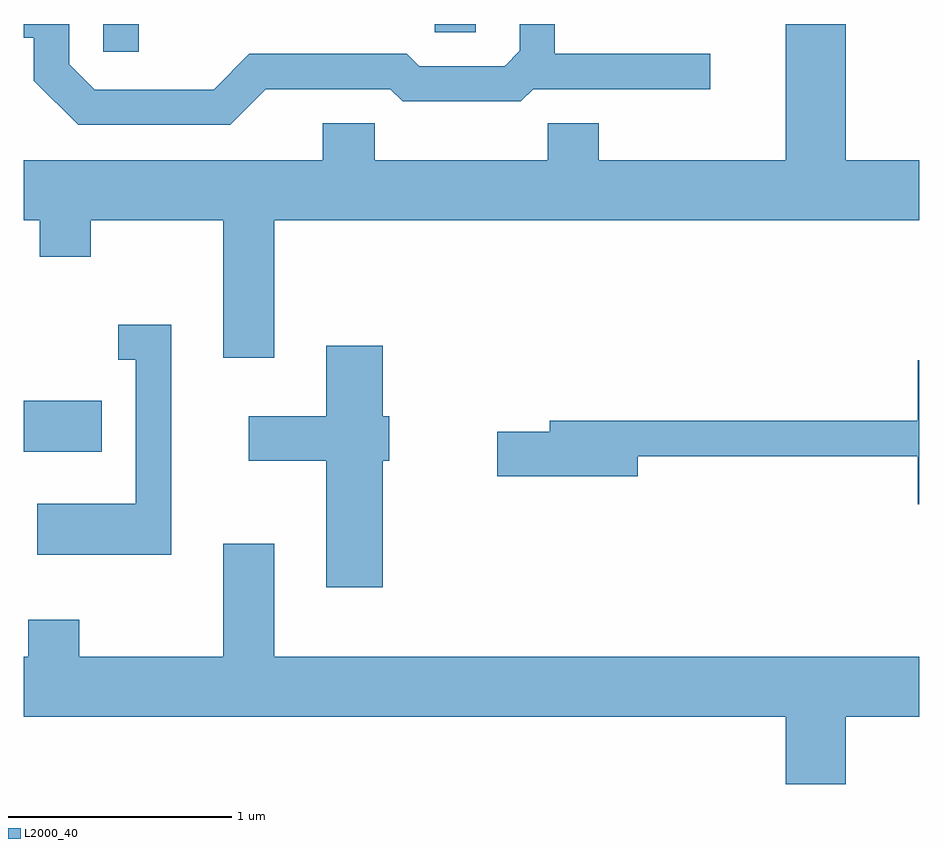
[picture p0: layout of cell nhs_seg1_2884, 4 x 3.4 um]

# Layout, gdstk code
import gdstk
lib = gdstk.Library(unit=1e-6, precision=1e-09)
def R(c, l, rs):  # rectangles x0, y0, x1, y1
    for r in rs: c.add(gdstk.rectangle(r[:2], r[2:], *l))
def P(c, l, *ps):  # polygons
    for p in ps: c.add(gdstk.Polygon(p, *l))
L2000_40 = (2000, 40)

nhs_seg1_2884 = lib.new_cell('nhs_seg1_2884')
R(nhs_seg1_2884, L2000_40, [(271.611,971.801,271.959,972.029), (271.966,973.588,272.124,973.712), (273.446,973.676,273.629,973.712)])
P(nhs_seg1_2884, L2000_40, [(272.729,972.836),(275.611,972.836),(275.611,973.104),(275.284,973.104),(275.284,973.712),(275.016,973.712),(275.016,973.104),(274.179,973.104),(274.179,973.269),(273.951,973.269),(273.951,973.104),(273.179,973.104),(273.179,973.269),(272.946,973.269),(272.946,973.104),(271.611,973.104),(271.611,972.836),(271.681,972.836),(271.681,972.671),(271.909,972.671),(271.909,972.836),(272.501,972.836),(272.501,972.221),(272.729,972.221)],
  [(272.692,973.421),(273.249,973.421),(273.304,973.366),(273.832,973.366),(273.887,973.421),(274.678,973.421),(274.678,973.579),(273.984,973.579),(273.984,973.712),(273.826,973.712),(273.826,973.592),(273.759,973.524),(273.377,973.524),(273.322,973.579),(272.619,973.579),(272.459,973.419),(271.927,973.419),(271.814,973.532),(271.814,973.712),(271.611,973.712),(271.611,973.651),(271.656,973.651),(271.656,973.459),(271.854,973.261),(272.532,973.261)],
  [(272.269,972.369),(272.033,972.369),(272.033,972.211),(272.111,972.211),(272.111,971.569),(271.671,971.569),(271.671,971.341),(272.269,971.341)],
  [(273.214,971.761),(273.244,971.761),(273.244,971.959),(273.214,971.959),(273.214,972.274),(272.961,972.274),(272.961,971.959),(272.616,971.959),(272.616,971.761),(272.961,971.761),(272.961,971.196),(273.214,971.196)],
  [(275.611,972.209),(275.606,972.209),(275.606,971.939),(273.961,971.939),(273.961,971.889),(273.726,971.889),(273.726,971.691),(274.354,971.691),(274.354,971.781),(275.606,971.781),(275.606,971.566),(275.611,971.566)],
  [(275.284,970.616),(275.611,970.616),(275.611,970.884),(272.729,970.884),(272.729,971.389),(272.501,971.389),(272.501,970.884),(271.859,970.884),(271.859,971.049),(271.631,971.049),(271.631,970.884),(271.611,970.884),(271.611,970.616),(275.016,970.616),(275.016,970.316),(275.284,970.316)])

lib.write_gds('nhs_seg1_2884.gds')
